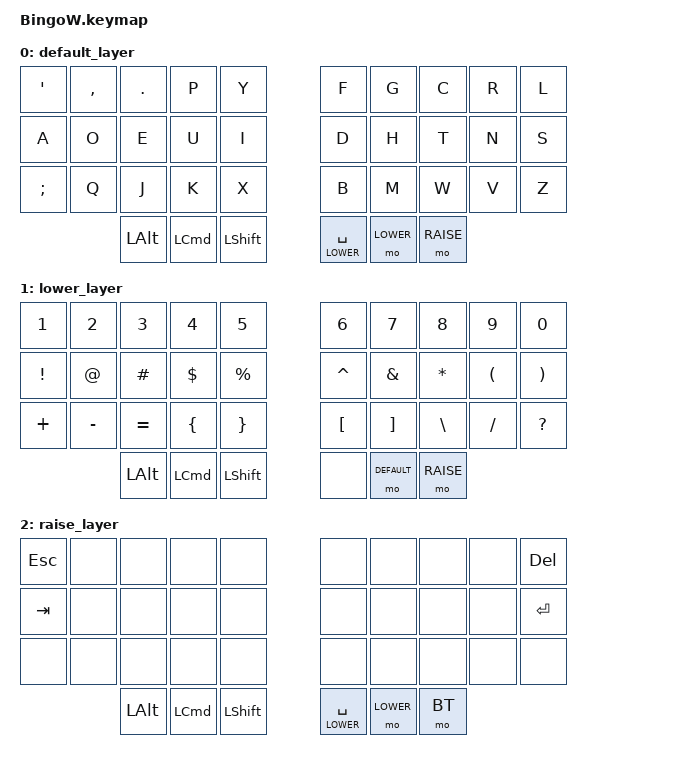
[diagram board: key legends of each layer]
#include <behaviors.dtsi>
#include <dt-bindings/zmk/keys.h>
#include <dt-bindings/zmk/bt.h>

#define DEFAULT 0
#define LOWER 1
#define RAISE 2
#define BT 3

/ {
    keymap {
        compatible = "zmk,keymap";

        default_layer {
            bindings = <
                &kp APOS    &kp COMMA   &kp DOT     &kp P           &kp Y           &kp F               &kp G           &kp C       &kp R       &kp L
                &kp A       &kp O       &kp E       &kp U           &kp I           &kp D               &kp H           &kp T       &kp N       &kp S
                &kp SEMI    &kp Q       &kp J       &kp K           &kp X           &kp B               &kp M           &kp W       &kp V       &kp Z
                                        &kp LALT    &kp LCMD        &kp LSHIFT      &lt LOWER SPACE     &mo LOWER       &mo RAISE
            >;
        };

        lower_layer {
            bindings = <
                &kp N1      &kp N2      &kp N3      &kp N4          &kp N5          &kp N6              &kp N7          &kp N8      &kp N9      &kp N0
                &kp EXCL    &kp AT      &kp HASH    &kp DLLR        &kp PRCNT       &kp CARET           &kp AMPS        &kp STAR    &kp LPAR    &kp RPAR
                &kp PLUS    &kp MINUS   &kp EQUAL   &kp LBRC        &kp RBRC        &kp LBKT            &kp RBKT        &kp BSLH    &kp FSLH    &kp QMARK
                                        &kp LALT    &kp LCMD        &kp LSHIFT      &none               &mo DEFAULT     &mo RAISE
            >;
        };

        raise_layer {
            bindings = <
                &kp ESC     &none       &none       &none           &none           &none               &none           &none       &none       &kp DEL
                &kp TAB     &none       &none       &none           &none           &none               &none           &none       &none       &kp ENTER
                &none       &none       &none       &none           &none           &none               &none           &none       &none       &none
                                        &kp LALT    &kp LCMD        &kp LSHIFT      &lt LOWER SPACE     &mo LOWER       &mo BT
            >;
        };

        bt_layer {
            bingings = <
                &bt BT_CLR      &none           &none           &none           &none           &none               &none           &none       &none       &kp BOOTLOADER
                &bt BT_SEL 0    &bt BT_SEL 1    &bt BT_SEL 2    &bt BT_SEL 3    &bt BT_SELT 4   &none               &none           &none       &none       &none
                &none           &none           &none           &none           &none           &none               &none           &none       &none       &kp z
                                                &kp LALT        &kp LCMD        &kp LSHIFT      &lt LOWER SPACE     &mo LOWER       &mo RAISE
            >;
        };
    };
};
